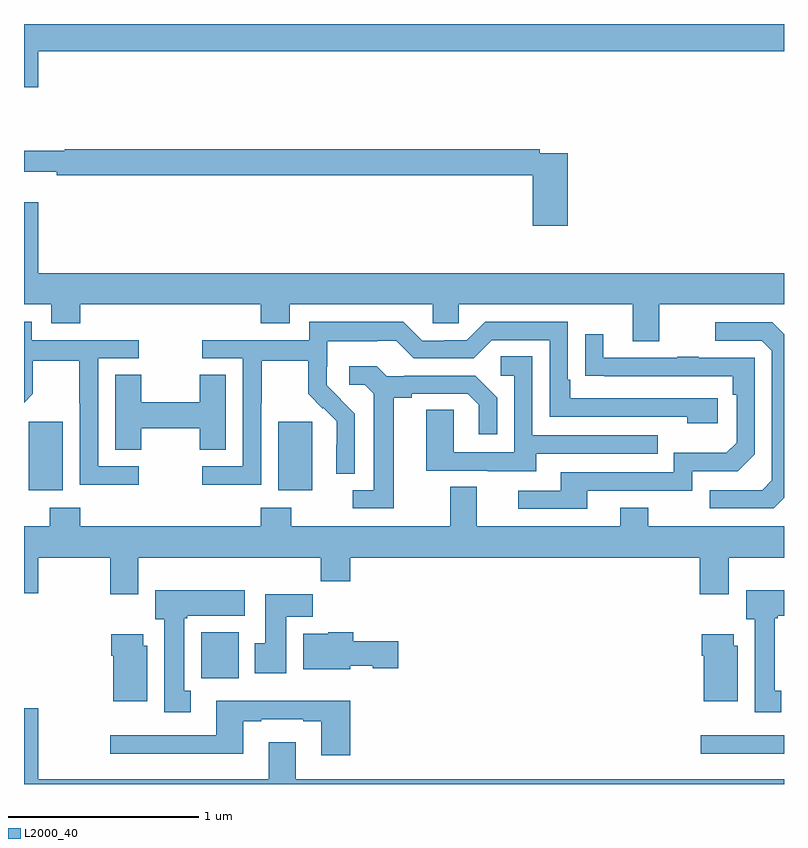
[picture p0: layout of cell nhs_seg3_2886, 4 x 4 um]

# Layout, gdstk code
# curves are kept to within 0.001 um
import gdstk
lib = gdstk.Library(unit=1e-6, precision=1e-09)
def R(c, l, rs):  # rectangles x0, y0, x1, y1
    for r in rs: c.add(gdstk.rectangle(r[:2], r[2:], *l))
def P(c, l, *ps):  # polygons
    for p in ps: c.add(gdstk.Polygon(p, *l))
L2000_40 = (2000, 40)

nhs_seg3_2886 = lib.new_cell('nhs_seg3_2886')
R(nhs_seg3_2886, L2000_40, [(264.561,690.56,265,690.657), (261.932,690.956,262.129,691.198), (261.026,691.946,261.205,692.307), (262.337,691.946,262.516,692.307)])
P(nhs_seg3_2886, L2000_40, [(261.076,694.256),(265,694.256),(265,694.4),(261,694.4),(261,694.068),(261.076,694.068)],
  [(263.861,693.72),(263.714,693.72),(263.714,693.74),(261.214,693.74),(261.214,693.733),(261,693.733),(261,693.623),(261.172,693.623),(261.172,693.604),(263.678,693.604),(263.678,693.339),(263.861,693.339)],
  [(264.343,692.924),(265,692.924),(265,693.088),(261.076,693.088),(261.076,693.463),(261,693.463),(261,692.924),(261.143,692.924),(261.143,692.825),(261.296,692.825),(261.296,692.924),(262.247,692.924),(262.247,692.825),(262.399,692.825),(262.399,692.924),(263.151,692.924),(263.151,692.826),(263.289,692.826),(263.289,692.924),(264.203,692.924),(264.203,692.73),(264.343,692.73)],
  [(261.604,692.073),(261.39,692.073),(261.39,692.64),(261.604,692.64),(261.604,692.736),(261.042,692.736),(261.042,692.833),(261,692.833),(261,692.406),(261.047,692.453),(261.047,692.628),(261.291,692.628),(261.291,692.404),(261.294,692.404),(261.294,691.975),(261.604,691.975)],
  [(262.248,692.404),(262.251,692.404),(262.251,692.628),(262.495,692.628),(262.495,692.453),(262.572,692.376),(262.575,692.379),(262.646,692.309),(262.646,692.186),(262.644,692.186),(262.644,692.032),(262.74,692.032),(262.74,692.35),(262.594,692.498),(262.594,692.595),(262.596,692.595),(262.596,692.729),(262.859,692.729),(262.859,692.733),(262.959,692.733),(263.052,692.64),(263.367,692.64),(263.463,692.736),(263.766,692.736),(263.766,692.334),(264.491,692.334),(264.491,692.3),(264.652,692.3),(264.652,692.43),(263.875,692.43),(263.875,692.527),(263.862,692.527),(263.862,692.832),(263.427,692.832),(263.331,692.736),(263.213,692.736),(263.213,692.733),(263.097,692.733),(262.997,692.833),(262.5,692.833),(262.5,692.736),(261.939,692.736),(261.939,692.64),(262.152,692.64),(262.152,692.073),(261.939,692.073),(261.939,691.975),(262.248,691.975)],
  [(265,691.906),(265,692.768),(264.939,692.829),(264.639,692.829),(264.639,692.733),(264.882,692.733),(264.936,692.679),(264.936,691.998),(264.885,691.947),(264.609,691.947),(264.609,691.851),(264.945,691.851)],
  [(263.965,691.944),(264.516,691.944),(264.516,692.046),(264.756,692.046),(264.846,692.136),(264.846,692.643),(264.551,692.643),(264.551,692.648),(264.439,692.648),(264.439,692.643),(264.049,692.643),(264.049,692.767),(263.953,692.767),(263.953,692.548),(264.73,692.547),(264.73,692.45),(264.75,692.45),(264.75,692.196),(264.697,692.143),(264.42,692.143),(264.42,692.04),(263.825,692.04),(263.825,691.944),(263.601,691.944),(263.601,691.848),(263.965,691.848)],
  [(263.695,692.139),(264.335,692.139),(264.335,692.235),(263.676,692.235),(263.676,692.651),(263.508,692.651),(263.508,692.55),(263.58,692.55),(263.58,692.145),(263.262,692.145),(263.262,692.369),(263.117,692.369),(263.117,692.049),(263.441,692.049),(263.441,692.045),(263.695,692.045)],
  [(262.945,692.432),(263.041,692.432),(263.041,692.454),(263.336,692.454),(263.393,692.397),(263.393,692.241),(263.49,692.241),(263.49,692.434),(263.374,692.55),(263.002,692.55),(263.002,692.547),(262.908,692.547),(262.856,692.599),(262.713,692.599),(262.713,692.502),(262.794,692.502),(262.841,692.455),(262.841,691.947),(262.731,691.947),(262.731,691.851),(262.945,691.851)],
  [(261.618,692.272),(261.925,692.272),(261.925,692.158),(262.063,692.158),(262.063,692.555),(261.925,692.555),(261.925,692.408),(261.618,692.408),(261.618,692.555),(261.479,692.555),(261.479,692.158),(261.618,692.158)],
  [(264.557,691.398),(264.709,691.398),(264.709,691.592),(265,691.592),(265,691.756),(264.285,691.756),(264.285,691.855),(264.137,691.855),(264.137,691.756),(263.383,691.756),(263.383,691.964),(263.243,691.964),(263.243,691.756),(262.407,691.756),(262.407,691.855),(262.247,691.855),(262.247,691.756),(261.296,691.756),(261.296,691.855),(261.136,691.855),(261.136,691.756),(261,691.756),(261,691.404),(261.076,691.404),(261.076,691.592),(261.454,691.592),(261.454,691.398),(261.601,691.398),(261.601,691.592),(262.561,691.592),(262.561,691.468),(262.718,691.468),(262.718,691.592),(264.557,691.592)],
  [(264.985,690.89),(264.952,690.89),(264.952,691.273),(264.966,691.273),(264.966,691.286),(265,691.286),(265,691.42),(264.8,691.42),(264.8,691.266),(264.845,691.266),(264.845,690.777),(264.985,690.777)],
  [(261.877,690.89),(261.844,690.89),(261.844,691.273),(261.858,691.273),(261.858,691.286),(262.162,691.286),(262.162,691.42),(261.692,691.42),(261.692,691.266),(261.737,691.266),(261.737,690.777),(261.877,690.777)],
  [(262.381,691.28),(262.52,691.28),(262.52,691.399),(262.271,691.399),(262.271,691.14),(262.214,691.14),(262.214,690.984),(262.381,690.984)],
  [(262.716,691.022),(262.836,691.022),(262.836,691.01),(262.969,691.01),(262.969,691.152),(262.733,691.152),(262.733,691.198),(262.602,691.198),(262.602,691.192),(262.469,691.192),(262.469,691.004),(262.716,691.004)],
  [(264.757,691.128),(264.736,691.128),(264.736,691.189),(264.566,691.189),(264.566,691.076),(264.578,691.076),(264.578,690.836),(264.757,690.836)],
  [(261.649,691.128),(261.628,691.128),(261.628,691.189),(261.458,691.189),(261.458,691.076),(261.47,691.076),(261.47,690.836),(261.649,690.836)],
  [(262.718,690.838),(262.013,690.838),(262.013,690.657),(261.453,690.657),(261.453,690.56),(262.153,690.56),(262.153,690.729),(262.249,690.729),(262.249,690.741),(262.469,690.741),(262.469,690.729),(262.565,690.729),(262.565,690.552),(262.718,690.552)],
  [(265,690.424),(262.429,690.424),(262.429,690.619),(262.289,690.619),(262.289,690.424),(261.076,690.424),(261.076,690.799),(261,690.799),(261,690.4),(265,690.4)])

lib.write_gds('nhs_seg3_2886.gds')
